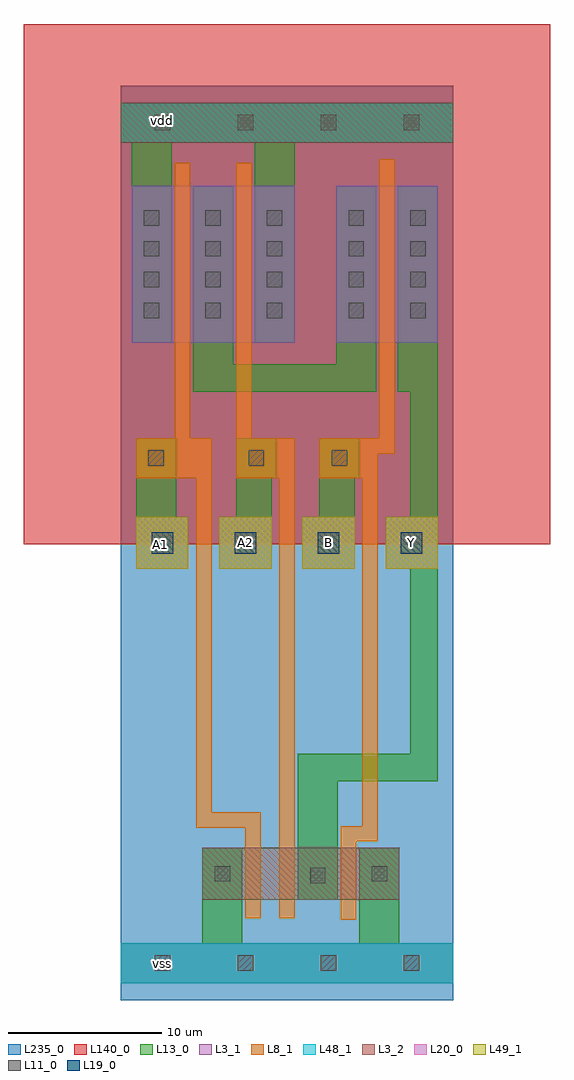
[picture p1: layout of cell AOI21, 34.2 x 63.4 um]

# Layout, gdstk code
import gdstk
lib = gdstk.Library(unit=1e-6, precision=1e-09)
def R(c, l, rs):  # rectangles x0, y0, x1, y1
    for r in rs: c.add(gdstk.rectangle(r[:2], r[2:], *l))
def A(c, l, x, y, w, h, nx, ny, dx, dy):  # array of equal rectangles
    R(c, l, [(x+i*dx, y+j*dy, x+i*dx+w, y+j*dy+h) for i in range(nx) for j in range(ny)])
def P(c, l, *ps):  # polygons
    for p in ps: c.add(gdstk.Polygon(p, *l))
L3_1 = (3, 1)
L3_2 = (3, 2)
L8_1 = (8, 1)
L11_0 = (11, 0)
L13_0 = (13, 0)
L19_0 = (19, 0)
L20_0 = (20, 0)
L48_1 = (48, 1)
L49_1 = (49, 1)
L140_0 = (140, 0)
L235_0 = (235, 0)

aoi21 = lib.new_cell('AOI21')
R(aoi21, L3_1, [(0,1.1,21.6,3.7), (0.7,42.7,7.3,52.9), (4.7,42.7,11.3,52.9), (14,42.7,20.6,52.9)])
R(aoi21, L3_2, [(5.3,6.5,18.1,9.9), (0,55.7,21.6,58.3)])
P(aoi21, L8_1, [(8.1,5.3),(8.1,11.2),(4.9,11.2),(4.9,33.9),(1,33.9),(1,36.5),(3.5,36.5),(3.5,54.4),(4.5,54.4),(4.5,36.5),(5.9,36.5),(5.9,12.2),(9.1,12.2),(9.1,5.3)],
  [(10.3,5.3),(10.3,33.9),(7.5,33.9),(7.5,54.4),(8.5,54.4),(8.5,36.5),(11.3,36.5),(11.3,5.3)],
  [(14.3,5.2),(14.3,11.3),(15.7,11.3),(15.7,33.9),(12.9,33.9),(12.9,36.5),(16.8,36.5),(16.8,54.6),(17.8,54.6),(17.8,35.5),(16.7,35.5),(16.7,10.3),(15.3,10.3),(15.3,5.2)])
A(aoi21, L11_0, 1.5, 44.3, 1, 1, 3, 4, 4, 2)
A(aoi21, L11_0, 14.8, 44.3, 1, 1, 1, 4, 0, 2)
A(aoi21, L11_0, 18.8, 44.3, 1, 1, 1, 4, 0, 2)
R(aoi21, L11_0, [(2.2,1.9,3.2,2.9), (7.6,1.9,8.6,2.9), (7.6,1.9,8.6,2.9), (13,1.9,14,2.9), (13,1.9,14,2.9), (18.4,1.9,19.4,2.9), (12.3,7.6,13.3,8.6), (6.1,7.7,7.1,8.7), (16.3,7.7,17.3,8.7), (1.8,34.7,2.8,35.7), (8.3,34.7,9.3,35.7), (13.7,34.7,14.7,35.7), (2.2,56.5,3.2,57.5), (2.2,56.5,3.2,57.5), (7.6,56.5,8.6,57.5), (7.6,56.5,8.6,57.5), (7.6,56.5,8.6,57.5), (7.6,56.5,8.6,57.5), (13,56.5,14,57.5), (13,56.5,14,57.5), (18.4,56.5,19.4,57.5)])
R(aoi21, L13_0, [(5.3,3.7,7.9,9.9), (15.5,3.7,18.1,9.9), (0.7,42.7,3.3,55.7), (8.7,42.7,11.3,55.7), (0,55.7,21.6,58.3)])
P(aoi21, L13_0, [(1,28),(1,36.5),(3.6,36.5),(3.6,31.4),(4.4,31.4),(4.4,28)],
  [(6.4,28),(6.4,31.4),(7.5,31.4),(7.5,36.5),(10.1,36.5),(10.1,33.9),(9.8,33.9),(9.8,28)],
  [(11.8,28),(11.8,31.4),(12.9,31.4),(12.9,36.5),(15.5,36.5),(15.5,33.9),(15.2,33.9),(15.2,28)],
  [(4.7,39.5),(4.7,52.9),(7.3,52.9),(7.3,41.3),(14,41.3),(14,52.9),(16.6,52.9),(16.6,39.5)],
  [(11.5,6.5),(11.5,16),(18.8,16),(18.8,28),(17.2,28),(17.2,31.4),(18.8,31.4),(18.8,39.5),(18,39.5),(18,52.9),(20.6,52.9),(20.6,14.2),(14.1,14.2),(14.1,6.5)],
  [(0,1.1),(0,3.7),(0.7,3.7),(3.3,3.7),(21.6,3.7),(21.6,1.1)])
A(aoi21, L19_0, 2, 29, 1.4, 1.4, 4, 1, 5.4, 0)
A(aoi21, L20_0, 1, 28, 3.4, 3.4, 4, 1, 5.4, 0)
R(aoi21, L48_1, [(0,1.1,21.6,3.7), (0,55.7,21.6,58.3)])
A(aoi21, L49_1, 1, 28, 3.4, 3.4, 4, 1, 5.4, 0)
R(aoi21, L140_0, [(-6.3,29.6,27.9,63.4)])
R(aoi21, L235_0, [(0,0,21.6,59.4)])
aoi21.add(gdstk.Label('A1', (2.6,29.6), layer=49, texttype=0))
aoi21.add(gdstk.Label('A2', (8.1,29.7), layer=49, texttype=0))
aoi21.add(gdstk.Label('B', (13.5,29.7), layer=49, texttype=0))
aoi21.add(gdstk.Label('Y', (18.9,29.7), layer=49, texttype=0))
aoi21.add(gdstk.Label('vss', (2.7,2.4), layer=48, texttype=0))
aoi21.add(gdstk.Label('vdd', (2.7,57.1), layer=48, texttype=0))

lib.write_gds('AOI21.gds')
